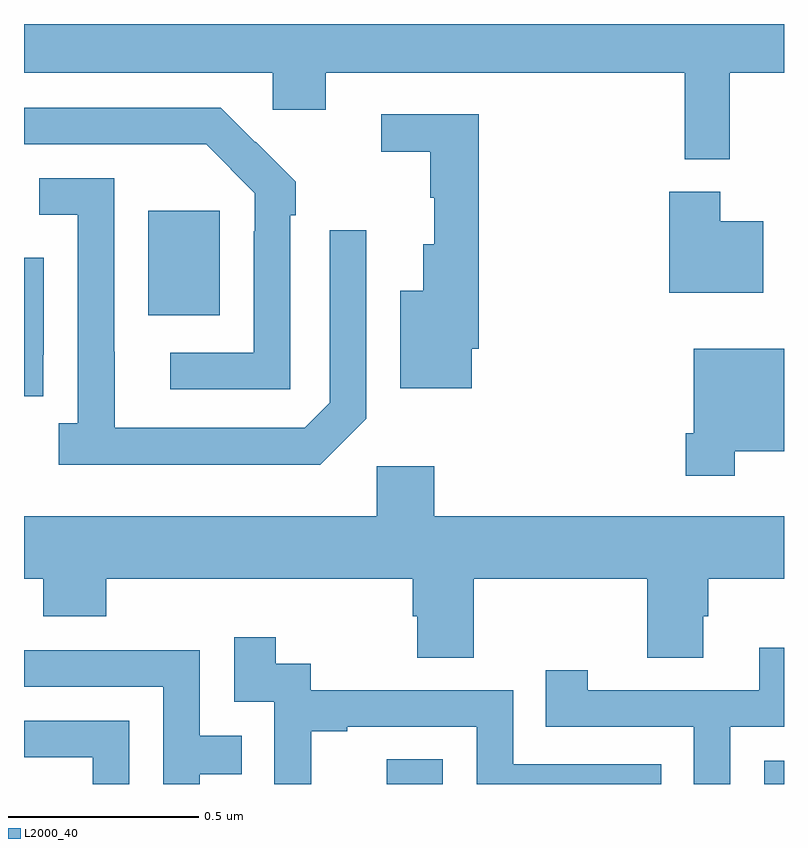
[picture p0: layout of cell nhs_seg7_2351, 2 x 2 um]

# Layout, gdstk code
import gdstk
lib = gdstk.Library(unit=1e-6, precision=1e-09)
def R(c, l, rs):  # rectangles x0, y0, x1, y1
    for r in rs: c.add(gdstk.rectangle(r[:2], r[2:], *l))
def P(c, l, *ps):  # polygons
    for p in ps: c.add(gdstk.Polygon(p, *l))
L2000_40 = (2000, 40)

nhs_seg7_2351 = lib.new_cell('nhs_seg7_2351')
R(nhs_seg7_2351, L2000_40, [(143.955,1076,144.102,1076.065), (144.948,1076,145,1076.061), (143.327,1077.233,143.515,1077.508)])
P(nhs_seg7_2351, L2000_40, [(144.857,1077.872),(145,1077.872),(145,1078),(143,1078),(143,1077.872),(143.655,1077.872),(143.655,1077.774),(143.794,1077.774),(143.794,1077.872),(144.739,1077.872),(144.739,1077.644),(144.857,1077.644)],
  [(143.7,1077.497),(143.715,1077.497),(143.715,1077.585),(143.61,1077.69),(143.609,1077.689),(143.518,1077.78),(143,1077.78),(143,1077.684),(143.479,1077.684),(143.607,1077.555),(143.607,1077.455),(143.604,1077.455),(143.604,1077.135),(143.385,1077.135),(143.385,1077.039),(143.7,1077.039)],
  [(144.178,1077.145),(144.197,1077.145),(144.197,1077.762),(143.94,1077.762),(143.94,1077.664),(144.069,1077.664),(144.069,1077.543),(144.08,1077.543),(144.08,1077.421),(144.05,1077.421),(144.05,1077.298),(143.99,1077.298),(143.99,1077.041),(144.178,1077.041)],
  [(143.901,1076.961),(143.901,1077.457),(143.805,1077.457),(143.805,1077.003),(143.739,1076.937),(143.239,1076.937),(143.239,1077.137),(143.238,1077.137),(143.238,1077.594),(143.04,1077.594),(143.04,1077.498),(143.142,1077.498),(143.142,1076.95),(143.091,1076.95),(143.091,1076.84),(143.78,1076.84)],
  [(144.946,1077.481),(144.832,1077.481),(144.832,1077.559),(144.698,1077.559),(144.698,1077.293),(144.946,1077.293)],
  [(143.051,1077.13),(143.052,1077.13),(143.052,1077.385),(143,1077.385),(143,1077.021),(143.051,1077.021)],
  [(144.871,1076.876),(145,1076.876),(145,1077.145),(144.762,1077.145),(144.762,1076.923),(144.742,1076.923),(144.742,1076.811),(144.871,1076.811)],
  [(144.183,1076.54),(144.64,1076.54),(144.64,1076.332),(144.787,1076.332),(144.787,1076.442),(144.8,1076.442),(144.8,1076.54),(145,1076.54),(145,1076.704),(144.08,1076.704),(144.08,1076.836),(143.928,1076.836),(143.928,1076.704),(143,1076.704),(143,1076.54),(143.051,1076.54),(143.051,1076.441),(143.216,1076.441),(143.216,1076.54),(144.023,1076.54),(144.023,1076.442),(144.035,1076.442),(144.035,1076.332),(144.183,1076.332)],
  [(143.756,1076.139),(143.851,1076.139),(143.851,1076.151),(144.192,1076.151),(144.192,1076),(144.677,1076),(144.677,1076.052),(144.288,1076.052),(144.288,1076.247),(143.754,1076.247),(143.754,1076.316),(143.662,1076.316),(143.662,1076.386),(143.553,1076.386),(143.553,1076.217),(143.658,1076.217),(143.658,1076),(143.756,1076)],
  [(144.858,1076.151),(145,1076.151),(145,1076.359),(144.935,1076.359),(144.935,1076.247),(144.484,1076.247),(144.484,1076.299),(144.373,1076.299),(144.373,1076.151),(144.762,1076.151),(144.762,1076),(144.858,1076)],
  [(143.463,1076.026),(143.573,1076.026),(143.573,1076.127),(143.463,1076.127),(143.463,1076.352),(143,1076.352),(143,1076.256),(143.367,1076.256),(143.367,1076),(143.463,1076)],
  [(143.277,1076.166),(143,1076.166),(143,1076.07),(143.181,1076.07),(143.181,1076),(143.277,1076)])

lib.write_gds('nhs_seg7_2351.gds')
